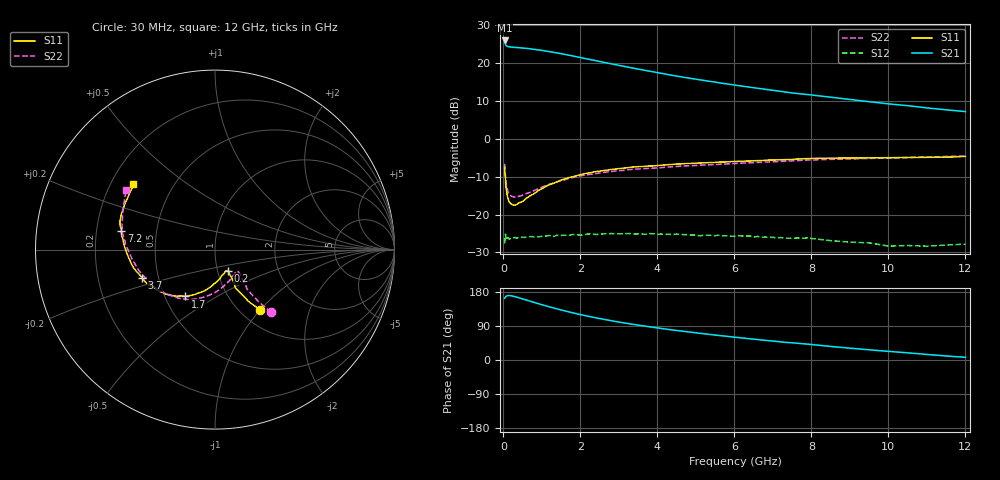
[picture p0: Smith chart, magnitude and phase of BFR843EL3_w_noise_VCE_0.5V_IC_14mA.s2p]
! Infineon Technologies  Discrete & RF Semiconductors
! BFR843EL3
! VCE =  0.5 V,  IC =  14 mA
! Common Emitter S-Parameters:  Aug 2013
# GHz  S  MA  R  50
!  f  S11  S21  S12  S22
! GHz  MAG  ANG  MAG  ANG  MAG  ANG  MAG  ANG
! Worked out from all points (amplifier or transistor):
!   103 points, 30 MHz to 12 GHz, reference 50 ohm
!   highest |S21| = 26.0 dB at 30 MHz (marker M1)
!   |S21| within 3 dB of that: start of sweep to 1.22 GHz
!   unconditionally stable (mu >= 1): 5.389 GHz to end of sweep
!   at 400 MHz: K = 0.98, MSG = 25.1 dB, |S12| = -26.0 dB
!   at 3.7 GHz: K = 0.85, MSG = 21.6 dB, |S12| = -25.2 dB
!   at 12 GHz: K = 2.34, MAG = 11.0 dB, |S12| = -27.8 dB
!   lowest NFmin = 0.97 dB at 450 MHz
!   S11 on the Smith chart (normalised r, x): 30 MHz: 1.22, -1.00; 200 MHz: 1.12, -0.27; 1.7 GHz: 0.64, -0.37; 3.7 GHz: 0.40, -0.16; 7.2 GHz: 0.31, +0.09; 12 GHz: 0.29, +0.32
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0.03  0.4218 -53.1  20.06 162.8  0.0415 25.7  0.4696 -48.2
0.04  0.3411 -57.3  18.8 164.3  0.046 22.3  0.3831 -50.0
0.06  0.2426 -61.9  17.48 167.1  0.0531 12.4  0.2859 -51.0
0.08  0.2054 -60.0  17 168.7  0.049 11.2  0.2409 -48.9
0.13  0.1567 -58.7  16.58 170.0  0.0496 7.7  0.1933 -44.6
0.2  0.1377 -58.9  16.38 169.4  0.0483 4.9  0.1763 -43.5
0.6  0.1653 -80.8  15.77 158.0  0.0502 5.0  0.1903 -64.6
1  0.2202 -100.1  14.81 145.9  0.0516 5.1  0.2312 -86.8
1.4  0.2723 -113.8  13.69 134.7  0.0535 4.0  0.2716 -103.2
1.7  0.3087 -122.2  12.81 126.9  0.0531 4.7  0.3008 -113.1
2.1  0.3472 -132.1  11.64 117.6  0.0541 4.2  0.3324 -124.5
2.4  0.3724 -138.5  10.84 111.3  0.0547 3.3  0.3501 -131.8
2.8  0.3957 -145.8  9.858 103.7  0.0563 2.0  0.3722 -139.4
3.3  0.4225 -153.4  8.772 95.1  0.0562 0.2  0.3949 -147.6
3.7  0.4361 -158.9  8.034 89.1  0.055 -1.1  0.4067 -153.4
4.1  0.4496 -163.4  7.382 83.2  0.0554 -1.4  0.4186 -157.9
5.1  0.4812 -174.0  6.054 70.5  0.0525 -2.5  0.4501 -168.8
6.1  0.5065 177.4  5.08 59.2  0.0529 -2.9  0.4768 -177.3
7.2  0.5309 168.9  4.265 47.9  0.0499 -4.5  0.5047 174.4
8.5  0.5579 159.0  3.568 35.8  0.0453 -3.7  0.5376 164.5
10.5  0.5692 147.3  2.756 18.9  0.0391 5.9  0.5692 153.1
12  0.5871 141.3  2.304 7.1  0.0407 17.2  0.5966 146.5
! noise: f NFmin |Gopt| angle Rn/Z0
0.45  0.97  0.06  98  0.12
0.9  0.97  0.06  104  0.12
1.5  0.99  0.07  109  0.1
1.9  1  0.08  114  0.11
2.4  1.01  0.09  119  0.11
3.5  1.04  0.11  132  0.11
5.5  1.08  0.18  159  0.09
8  1.14  0.29  187  0.07
10  1.17  0.42  215  0.06
